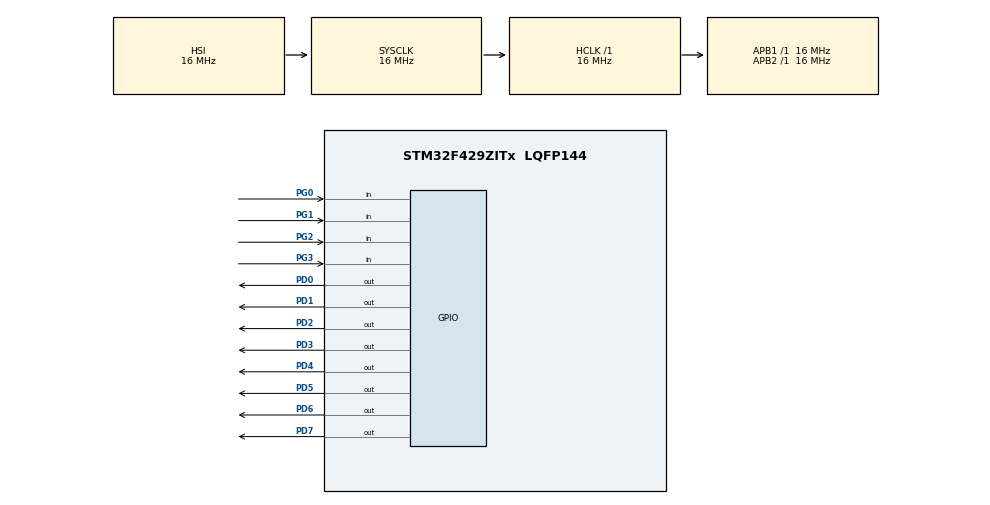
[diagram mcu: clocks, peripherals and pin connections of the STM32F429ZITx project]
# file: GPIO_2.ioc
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Mcu.Family=STM32F4
Mcu.Name=STM32F429ZITx
Mcu.Package=LQFP144
NVIC.PriorityGroup=NVIC_PRIORITYGROUP_4
PA13.Mode=Serial_Wire
PA13.Signal=SYS_JTMS-SWDIO
PA14.Mode=Serial_Wire
PA14.Signal=SYS_JTCK-SWCLK
PD0.GPIO_ModeDefaultOutputPP=GPIO_MODE_OUTPUT_PP
PD0.GPIO_PuPd=GPIO_PULLUP
PD0.GPIO_Speed=GPIO_SPEED_FREQ_HIGH
PD0.PinState=GPIO_PIN_RESET
PD0.Signal=GPIO_Output
PD1.GPIO_ModeDefaultOutputPP=GPIO_MODE_OUTPUT_PP
PD1.GPIO_PuPd=GPIO_PULLUP
PD1.GPIO_Speed=GPIO_SPEED_FREQ_HIGH
PD1.PinState=GPIO_PIN_RESET
PD1.Signal=GPIO_Output
PD2.GPIO_ModeDefaultOutputPP=GPIO_MODE_OUTPUT_PP
PD2.GPIO_PuPd=GPIO_PULLUP
PD2.GPIO_Speed=GPIO_SPEED_FREQ_HIGH
PD2.PinState=GPIO_PIN_RESET
PD2.Signal=GPIO_Output
PD3.GPIO_ModeDefaultOutputPP=GPIO_MODE_OUTPUT_PP
PD3.GPIO_PuPd=GPIO_PULLUP
PD3.GPIO_Speed=GPIO_SPEED_FREQ_HIGH
PD3.PinState=GPIO_PIN_RESET
PD3.Signal=GPIO_Output
PD4.GPIO_ModeDefaultOutputPP=GPIO_MODE_OUTPUT_PP
PD4.GPIO_PuPd=GPIO_PULLUP
PD4.GPIO_Speed=GPIO_SPEED_FREQ_HIGH
PD4.PinState=GPIO_PIN_RESET
PD4.Signal=GPIO_Output
PD5.GPIO_ModeDefaultOutputPP=GPIO_MODE_OUTPUT_PP
PD5.GPIO_PuPd=GPIO_PULLUP
PD5.GPIO_Speed=GPIO_SPEED_FREQ_HIGH
PD5.PinState=GPIO_PIN_RESET
PD5.Signal=GPIO_Output
PD6.GPIO_ModeDefaultOutputPP=GPIO_MODE_OUTPUT_PP
PD6.GPIO_PuPd=GPIO_PULLUP
PD6.GPIO_Speed=GPIO_SPEED_FREQ_HIGH
PD6.PinState=GPIO_PIN_RESET
PD6.Signal=GPIO_Output
PD7.GPIO_ModeDefaultOutputPP=GPIO_MODE_OUTPUT_PP
PD7.GPIO_PuPd=GPIO_PULLUP
PD7.GPIO_Speed=GPIO_SPEED_FREQ_HIGH
PD7.PinState=GPIO_PIN_RESET
PD7.Signal=GPIO_Output
PG0.GPIO_Mode=GPIO_MODE_INPUT
PG0.GPIO_PuPd=GPIO_PULLDOWN
PG0.Signal=GPIO_Input
PG1.GPIO_Mode=GPIO_MODE_INPUT
PG1.GPIO_PuPd=GPIO_PULLDOWN
PG1.Signal=GPIO_Input
PG2.GPIO_Mode=GPIO_MODE_INPUT
PG2.GPIO_PuPd=GPIO_PULLDOWN
PG2.Signal=GPIO_Input
PG3.GPIO_Mode=GPIO_MODE_INPUT
PG3.GPIO_PuPd=GPIO_PULLDOWN
PG3.Signal=GPIO_Input
ProjectManager.HeapSize=0x200
ProjectManager.StackSize=0x400
ProjectManager.TargetToolchain=STM32CubeIDE
RCC.AHBFreq_Value=16000000
RCC.APB1Freq_Value=16000000
RCC.APB2Freq_Value=16000000
RCC.CortexFreq_Value=16000000
RCC.HSE_VALUE=25000000
RCC.HSI_VALUE=16000000
RCC.LSE_VALUE=32768
RCC.SYSCLKFreq_VALUE=16000000
RCC.VCOOutputFreq_Value=192000000
board=custom

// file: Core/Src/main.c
/* USER CODE BEGIN Header */
/**
  ******************************************************************************
  * @file           : main.c
  * @brief          : Main program body
  ******************************************************************************
  * @attention
  *
  * Copyright (c) 2023 STMicroelectronics.
  * All rights reserved.
  *
  * This software is licensed under terms that can be found in the LICENSE file
  * in the root directory of this software component.
  * If no LICENSE file comes with this software, it is provided AS-IS.
  *
  ******************************************************************************
  */
/* USER CODE END Header */
#include "main.h"

void SystemClock_Config(void);
static void MX_GPIO_Init(void);
/* USER CODE BEGIN PFP */

void LED_OnOff(int, int);

/* USER CODE END PFP */

int main(void)
{
  /* USER CODE BEGIN 1 */

	unsigned char led = 0x01;

  /* USER CODE END 1 */

  /* MCU Configuration--------------------------------------------------------*/

  /* Reset of all peripherals, Initializes the Flash interface and the Systick. */
  HAL_Init();

  /* Configure the system clock */
  SystemClock_Config();

  /* Initialize all configured peripherals */
  MX_GPIO_Init();
  /* USER CODE BEGIN 2 */

  LED_OnOff(LED_ALL, 500);

  /* USER CODE END 2 */

  /* Infinite loop */
  /* USER CODE BEGIN WHILE */
  while (1)
  {
	  do {
		  LED_OnOff(led, 200);
		  led = led << 1;
		  led = led & 0xfe;
	  } while (led != 0x80);

	  do {
		  LED_OnOff(led, 200);
		  led = led >> 1;
		  led = led & 0x7f;
	  } while (led != 0x01);

    /* USER CODE END WHILE */

  }
}

void SystemClock_Config(void)
{
  RCC_OscInitTypeDef RCC_OscInitStruct = {0};
  RCC_ClkInitTypeDef RCC_ClkInitStruct = {0};

  /** Configure the main internal regulator output voltage
  */
  __HAL_RCC_PWR_CLK_ENABLE();
  __HAL_PWR_VOLTAGESCALING_CONFIG(PWR_REGULATOR_VOLTAGE_SCALE3);

  /** Initializes the RCC Oscillators according to the specified parameters
  * in the RCC_OscInitTypeDef structure.
  */
  RCC_OscInitStruct.OscillatorType = RCC_OSCILLATORTYPE_HSI;
  RCC_OscInitStruct.HSIState = RCC_HSI_ON;
  RCC_OscInitStruct.HSICalibrationValue = RCC_HSICALIBRATION_DEFAULT;
  RCC_OscInitStruct.PLL.PLLState = RCC_PLL_NONE;
  if (HAL_RCC_OscConfig(&RCC_OscInitStruct) != HAL_OK)
  {
    Error_Handler();
  }

  /** Initializes the CPU, AHB and APB buses clocks
  */
  RCC_ClkInitStruct.ClockType = RCC_CLOCKTYPE_HCLK|RCC_CLOCKTYPE_SYSCLK
                              |RCC_CLOCKTYPE_PCLK1|RCC_CLOCKTYPE_PCLK2;
  RCC_ClkInitStruct.SYSCLKSource = RCC_SYSCLKSOURCE_HSI;
  RCC_ClkInitStruct.AHBCLKDivider = RCC_SYSCLK_DIV1;
  RCC_ClkInitStruct.APB1CLKDivider = RCC_HCLK_DIV1;
  RCC_ClkInitStruct.APB2CLKDivider = RCC_HCLK_DIV1;

  if (HAL_RCC_ClockConfig(&RCC_ClkInitStruct, FLASH_LATENCY_0) != HAL_OK)
  {
    Error_Handler();
  }
}

static void MX_GPIO_Init(void)
{
  GPIO_InitTypeDef GPIO_InitStruct = {0};

  /* GPIO Ports Clock Enable */
  __HAL_RCC_GPIOG_CLK_ENABLE();
  __HAL_RCC_GPIOA_CLK_ENABLE();
  __HAL_RCC_GPIOD_CLK_ENABLE();

  /*Configure GPIO pin Output Level */
  HAL_GPIO_WritePin(GPIOD, GPIO_PIN_0|GPIO_PIN_1|GPIO_PIN_2|GPIO_PIN_3
                          |GPIO_PIN_4|GPIO_PIN_5|GPIO_PIN_6|GPIO_PIN_7, GPIO_PIN_RESET);

  /*Configure GPIO pins : PG0 PG1 PG2 PG3 */
  GPIO_InitStruct.Pin = GPIO_PIN_0|GPIO_PIN_1|GPIO_PIN_2|GPIO_PIN_3;
  GPIO_InitStruct.Mode = GPIO_MODE_INPUT;
  GPIO_InitStruct.Pull = GPIO_PULLDOWN;
  HAL_GPIO_Init(GPIOG, &GPIO_InitStruct);

  /*Configure GPIO pins : PD0 PD1 PD2 PD3
                           PD4 PD5 PD6 PD7 */
  GPIO_InitStruct.Pin = GPIO_PIN_0|GPIO_PIN_1|GPIO_PIN_2|GPIO_PIN_3
                          |GPIO_PIN_4|GPIO_PIN_5|GPIO_PIN_6|GPIO_PIN_7;
  GPIO_InitStruct.Mode = GPIO_MODE_OUTPUT_PP;
  GPIO_InitStruct.Pull = GPIO_PULLUP;
  GPIO_InitStruct.Speed = GPIO_SPEED_FREQ_HIGH;
  HAL_GPIO_Init(GPIOD, &GPIO_InitStruct);

}

/* USER CODE BEGIN 4 */

void LED_OnOff(int led, int interval)
{
	HAL_GPIO_WritePin(GPIO_LED, led, GPIO_PIN_SET );
	HAL_Delay(interval);
	HAL_GPIO_WritePin(GPIO_LED, led, GPIO_PIN_RESET );
}

/* USER CODE END 4 */

void Error_Handler(void)
{
  __disable_irq();
  while (1)
  {
  }
}
